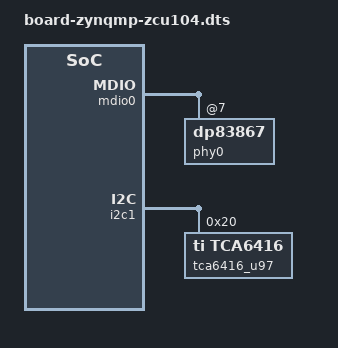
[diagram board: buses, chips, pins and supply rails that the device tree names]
/*
 * ZynqMP based zcu104 board
 *
 * Copyright (c) 2024, Advanced Micro Devices, Inc
 * All rights reserved.
 *
 * SPDX-License-Identifier: BSD-3-Clause
 */

#include "board-zynqmp-zcu102.dts"

&mdio0 {
	phy0: phy@7 {
		compatible = "dp83867";
	};
};

&i2c0 {
	/delete-node/ tca6416@20;
	/delete-node/ tca6416@21;
};

&i2c1 {
		tca6416_u97: tca6416@20 {
			compatible = "ti,tca6416";
			reg = <0x20>;
		};
};
